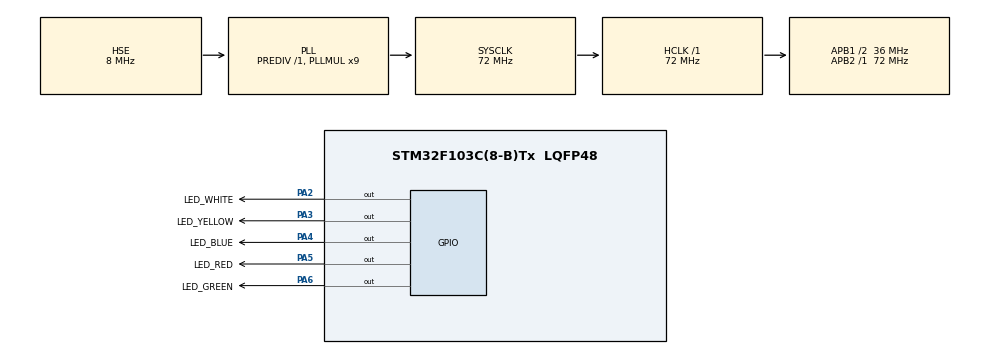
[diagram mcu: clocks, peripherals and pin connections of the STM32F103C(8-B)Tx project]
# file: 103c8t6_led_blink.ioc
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FREERTOS.Tasks01=defaultTask,24,64,StartDefaultTask,Default,NULL,Dynamic,NULL,NULL;LedBlinkWhite,24,64,vLedBlinkWhite,As external,NULL,Dynamic,NULL,NULL;LedBlinkYellow,24,64,vLedBlinkYellow,As external,NULL,Dynamic,NULL,NULL;LedBlinkBlue,24,64,vLedBlinkBlue,As external,NULL,Dynamic,NULL,NULL;LedBlinkRed,24,64,vLedBlinkRed,As external,NULL,Dynamic,NULL,NULL;LedBlinkGreen,24,64,vLedBlinkGreen,As external,NULL,Dynamic,NULL,NULL
FREERTOS.configGENERATE_RUN_TIME_STATS=1
FREERTOS.configMINIMAL_STACK_SIZE=64
FREERTOS.configRECORD_STACK_HIGH_ADDRESS=1
FREERTOS.configTOTAL_HEAP_SIZE=10240
Mcu.Family=STM32F1
Mcu.Name=STM32F103C(8-B)Tx
Mcu.Package=LQFP48
NVIC.PriorityGroup=NVIC_PRIORITYGROUP_4
NVIC.TIM1_UP_IRQn=true\:15\:0\:false\:false\:true\:false\:false\:true\:true
NVIC.TimeBase=TIM1_UP_IRQn
NVIC.TimeBaseIP=TIM1
PA13.Mode=Serial_Wire
PA13.Signal=SYS_JTMS-SWDIO
PA14.Mode=Serial_Wire
PA14.Signal=SYS_JTCK-SWCLK
PA2.GPIO_Label=LED_WHITE
PA2.GPIO_PuPd=GPIO_PULLUP
PA2.GPIO_Speed=GPIO_SPEED_FREQ_HIGH
PA2.PinState=GPIO_PIN_SET
PA2.Signal=GPIO_Output
PA3.GPIO_Label=LED_YELLOW
PA3.GPIO_PuPd=GPIO_PULLUP
PA3.GPIO_Speed=GPIO_SPEED_FREQ_HIGH
PA3.PinState=GPIO_PIN_SET
PA3.Signal=GPIO_Output
PA4.GPIO_Label=LED_BLUE
PA4.GPIO_ModeDefaultOutputPP=GPIO_MODE_OUTPUT_PP
PA4.GPIO_PuPd=GPIO_PULLUP
PA4.GPIO_Speed=GPIO_SPEED_FREQ_HIGH
PA4.PinState=GPIO_PIN_SET
PA4.Signal=GPIO_Output
PA5.GPIO_Label=LED_RED
PA5.GPIO_ModeDefaultOutputPP=GPIO_MODE_OUTPUT_PP
PA5.GPIO_PuPd=GPIO_PULLUP
PA5.GPIO_Speed=GPIO_SPEED_FREQ_HIGH
PA5.PinState=GPIO_PIN_SET
PA5.Signal=GPIO_Output
PA6.GPIO_Label=LED_GREEN
PA6.GPIO_ModeDefaultOutputPP=GPIO_MODE_OUTPUT_PP
PA6.GPIO_PuPd=GPIO_PULLUP
PA6.GPIO_Speed=GPIO_SPEED_FREQ_HIGH
PA6.PinState=GPIO_PIN_SET
PA6.Signal=GPIO_Output
PC14-OSC32_IN.Mode=LSE-External-Oscillator
PC14-OSC32_IN.Signal=RCC_OSC32_IN
PC15-OSC32_OUT.Mode=LSE-External-Oscillator
PC15-OSC32_OUT.Signal=RCC_OSC32_OUT
PD0-OSC_IN.Mode=HSE-External-Oscillator
PD0-OSC_IN.Signal=RCC_OSC_IN
PD1-OSC_OUT.Mode=HSE-External-Oscillator
PD1-OSC_OUT.Signal=RCC_OSC_OUT
ProjectManager.HeapSize=0x200
ProjectManager.StackSize=0x400
ProjectManager.TargetToolchain=CMake
RCC.AHBFreq_Value=72000000
RCC.APB1CLKDivider=RCC_HCLK_DIV2
RCC.APB1Freq_Value=36000000
RCC.APB1TimFreq_Value=72000000
RCC.APB2Freq_Value=72000000
RCC.APB2TimFreq_Value=72000000
RCC.HCLKFreq_Value=72000000
RCC.PLLMUL=RCC_PLL_MUL9
RCC.PLLSourceVirtual=RCC_PLLSOURCE_HSE
RCC.SYSCLKFreq_VALUE=72000000
RCC.SYSCLKSource=RCC_SYSCLKSOURCE_PLLCLK
RCC.USBFreq_Value=72000000
VP_FREERTOS_VS_CMSIS_V2.Mode=CMSIS_V2
VP_SYS_VS_tim1.Mode=TIM1
board=custom

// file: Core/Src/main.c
/* USER CODE BEGIN Header */
/**
  ******************************************************************************
  * @file           : main.c
  * @brief          : Main program body
  ******************************************************************************
  * @attention
  *
  * Copyright (c) 2025 STMicroelectronics.
  * All rights reserved.
  *
  * This software is licensed under terms that can be found in the LICENSE file
  * in the root directory of this software component.
  * If no LICENSE file comes with this software, it is provided AS-IS.
  *
  ******************************************************************************
  */
/* USER CODE END Header */
#include "main.h"
#include "cmsis_os.h"
#include "gpio.h"

/* USER CODE BEGIN PD */
#define FREQUENCY_TO_MS(frequency) (1000 / frequency)
/* USER CODE END PD */

void SystemClock_Config(void);
void MX_FREERTOS_Init(void);

int main(void)
{

  /* MCU Configuration--------------------------------------------------------*/

  /* Reset of all peripherals, Initializes the Flash interface and the Systick. */
  HAL_Init();

  /* Configure the system clock */
  SystemClock_Config();

  /* Initialize all configured peripherals */
  MX_GPIO_Init();

  /* Init scheduler */
  osKernelInitialize();

  /* Call init function for freertos objects (in cmsis_os2.c) */
  MX_FREERTOS_Init();

  /* Start scheduler */
  osKernelStart();

  /* We should never get here as control is now taken by the scheduler */

  /* Infinite loop */
  /* USER CODE BEGIN WHILE */
  while (1)
  {
    // HAL_GPIO_TogglePin(LED_WHITE_GPIO_Port, LED_WHITE_Pin);
    // HAL_GPIO_TogglePin(LED_YELLOW_GPIO_Port, LED_YELLOW_Pin);
    // HAL_GPIO_TogglePin(LED_BLUE_GPIO_Port, LED_BLUE_Pin);
    // HAL_GPIO_TogglePin(LED_RED_GPIO_Port, LED_RED_Pin);
    // HAL_GPIO_TogglePin(LED_GREEN_GPIO_Port, LED_GREEN_Pin);
    // HAL_Delay(500);

    /* USER CODE END WHILE */

  }
}

void SystemClock_Config(void)
{
  RCC_OscInitTypeDef RCC_OscInitStruct = {0};
  RCC_ClkInitTypeDef RCC_ClkInitStruct = {0};

  /** Initializes the RCC Oscillators according to the specified parameters
  * in the RCC_OscInitTypeDef structure.
  */
  RCC_OscInitStruct.OscillatorType = RCC_OSCILLATORTYPE_HSE;
  RCC_OscInitStruct.HSEState = RCC_HSE_ON;
  RCC_OscInitStruct.HSEPredivValue = RCC_HSE_PREDIV_DIV1;
  RCC_OscInitStruct.HSIState = RCC_HSI_ON;
  RCC_OscInitStruct.PLL.PLLState = RCC_PLL_ON;
  RCC_OscInitStruct.PLL.PLLSource = RCC_PLLSOURCE_HSE;
  RCC_OscInitStruct.PLL.PLLMUL = RCC_PLL_MUL9;
  if (HAL_RCC_OscConfig(&RCC_OscInitStruct) != HAL_OK)
  {
    Error_Handler();
  }

  /** Initializes the CPU, AHB and APB buses clocks
  */
  RCC_ClkInitStruct.ClockType = RCC_CLOCKTYPE_HCLK|RCC_CLOCKTYPE_SYSCLK
                              |RCC_CLOCKTYPE_PCLK1|RCC_CLOCKTYPE_PCLK2;
  RCC_ClkInitStruct.SYSCLKSource = RCC_SYSCLKSOURCE_PLLCLK;
  RCC_ClkInitStruct.AHBCLKDivider = RCC_SYSCLK_DIV1;
  RCC_ClkInitStruct.APB1CLKDivider = RCC_HCLK_DIV2;
  RCC_ClkInitStruct.APB2CLKDivider = RCC_HCLK_DIV1;

  if (HAL_RCC_ClockConfig(&RCC_ClkInitStruct, FLASH_LATENCY_2) != HAL_OK)
  {
    Error_Handler();
  }
}

/* USER CODE BEGIN 4 */
/**
 * @brief 以 10 Hz 的频率闪烁白色 LED
 * @param pvParameters
 */
void vLedBlinkWhite(void* pvParameters)
{
  UNUSED(pvParameters);

  TickType_t last_wake_time = xTaskGetTickCount();

  while (1)
  {
    HAL_GPIO_TogglePin(LED_WHITE_GPIO_Port, LED_WHITE_Pin);

    vTaskDelayUntil(&last_wake_time, pdMS_TO_TICKS(FREQUENCY_TO_MS(10)));
  }
}

/**
 * @brief 以 20 Hz 的频率闪烁黄色 LED
 * @param pvParameters
 */
void vLedBlinkYellow(void* pvParameters)
{
  UNUSED(pvParameters);

  TickType_t last_wake_time = xTaskGetTickCount();

  while (1)
  {
    HAL_GPIO_TogglePin(LED_YELLOW_GPIO_Port, LED_YELLOW_Pin);

    vTaskDelayUntil(&last_wake_time, pdMS_TO_TICKS(FREQUENCY_TO_MS(20)));
  }
}

/**
 * @brief 以 30 Hz 频率闪烁蓝色 LED
 * @param pvParameters
 */
void vLedBlinkBlue(void* pvParameters)
{
  UNUSED(pvParameters);

  TickType_t last_wake_time = xTaskGetTickCount();

  while (1)
  {
    HAL_GPIO_TogglePin(LED_BLUE_GPIO_Port, LED_BLUE_Pin);

    vTaskDelayUntil(&last_wake_time, pdMS_TO_TICKS(FREQUENCY_TO_MS(30)));
  }
}

/**
 * @brief 以 40 Hz 频率闪烁红色 LED
 * @param pvParameters
 */
void vLedBlinkRed(void* pvParameters)
{
  UNUSED(pvParameters);

  TickType_t last_wake_time = xTaskGetTickCount();

  while (1)
  {
    HAL_GPIO_TogglePin(LED_RED_GPIO_Port, LED_RED_Pin);

    vTaskDelayUntil(&last_wake_time, pdMS_TO_TICKS(FREQUENCY_TO_MS(40)));
  }
}

/**
 * @brief 以 50 Hz 频率闪烁绿色 LED
 * @param pvParameters
 */
void vLedBlinkGreen(void* pvParameters)
{
  UNUSED(pvParameters);

  TickType_t last_wake_time = xTaskGetTickCount();

  while (1)
  {
    HAL_GPIO_TogglePin(LED_GREEN_GPIO_Port, LED_GREEN_Pin);

    vTaskDelayUntil(&last_wake_time, pdMS_TO_TICKS(FREQUENCY_TO_MS(50)));
  }
}
/* USER CODE END 4 */

void HAL_TIM_PeriodElapsedCallback(TIM_HandleTypeDef *htim)
{
  if (htim->Instance == TIM1)
  {
    HAL_IncTick();
  }
}

void Error_Handler(void)
{
  __disable_irq();
  while (1)
  {
  }
}

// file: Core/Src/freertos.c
/* USER CODE BEGIN Header */
/**
  ******************************************************************************
  * File Name          : freertos.c
  * Description        : Code for freertos applications
  ******************************************************************************
  * @attention
  *
  * Copyright (c) 2025 STMicroelectronics.
  * All rights reserved.
  *
  * This software is licensed under terms that can be found in the LICENSE file
  * in the root directory of this software component.
  * If no LICENSE file comes with this software, it is provided AS-IS.
  *
  ******************************************************************************
  */
/* USER CODE END Header */

#include "FreeRTOS.h"
#include "task.h"
#include "main.h"
#include "cmsis_os.h"

/* Definitions for defaultTask */
osThreadId_t defaultTaskHandle;
const osThreadAttr_t defaultTask_attributes = {
  .name = "defaultTask",
  .stack_size = 64 * 4,
  .priority = (osPriority_t) osPriorityNormal,
};
/* Definitions for LedBlinkWhite */
osThreadId_t LedBlinkWhiteHandle;
const osThreadAttr_t LedBlinkWhite_attributes = {
  .name = "LedBlinkWhite",
  .stack_size = 64 * 4,
  .priority = (osPriority_t) osPriorityNormal,
};
/* Definitions for LedBlinkYellow */
osThreadId_t LedBlinkYellowHandle;
const osThreadAttr_t LedBlinkYellow_attributes = {
  .name = "LedBlinkYellow",
  .stack_size = 64 * 4,
  .priority = (osPriority_t) osPriorityNormal,
};
/* Definitions for LedBlinkBlue */
osThreadId_t LedBlinkBlueHandle;
const osThreadAttr_t LedBlinkBlue_attributes = {
  .name = "LedBlinkBlue",
  .stack_size = 64 * 4,
  .priority = (osPriority_t) osPriorityNormal,
};
/* Definitions for LedBlinkRed */
osThreadId_t LedBlinkRedHandle;
const osThreadAttr_t LedBlinkRed_attributes = {
  .name = "LedBlinkRed",
  .stack_size = 64 * 4,
  .priority = (osPriority_t) osPriorityNormal,
};
/* Definitions for LedBlinkGreen */
osThreadId_t LedBlinkGreenHandle;
const osThreadAttr_t LedBlinkGreen_attributes = {
  .name = "LedBlinkGreen",
  .stack_size = 64 * 4,
  .priority = (osPriority_t) osPriorityNormal,
};

void StartDefaultTask(void *argument);
extern void vLedBlinkWhite(void *argument);
extern void vLedBlinkYellow(void *argument);
extern void vLedBlinkBlue(void *argument);
extern void vLedBlinkRed(void *argument);
extern void vLedBlinkGreen(void *argument);

void MX_FREERTOS_Init(void); /* (MISRA C 2004 rule 8.1) */

/* Hook prototypes */
void configureTimerForRunTimeStats(void);
unsigned long getRunTimeCounterValue(void);

/* USER CODE BEGIN 1 */
/* Functions needed when configGENERATE_RUN_TIME_STATS is on */
__weak void configureTimerForRunTimeStats(void)
{

}

__weak unsigned long getRunTimeCounterValue(void)
{
return 0;
}
/* USER CODE END 1 */

void MX_FREERTOS_Init(void) {

  /* Create the thread(s) */
  /* creation of defaultTask */
  defaultTaskHandle = osThreadNew(StartDefaultTask, NULL, &defaultTask_attributes);

  /* creation of LedBlinkWhite */
  LedBlinkWhiteHandle = osThreadNew(vLedBlinkWhite, NULL, &LedBlinkWhite_attributes);

  /* creation of LedBlinkYellow */
  LedBlinkYellowHandle = osThreadNew(vLedBlinkYellow, NULL, &LedBlinkYellow_attributes);

  /* creation of LedBlinkBlue */
  LedBlinkBlueHandle = osThreadNew(vLedBlinkBlue, NULL, &LedBlinkBlue_attributes);

  /* creation of LedBlinkRed */
  LedBlinkRedHandle = osThreadNew(vLedBlinkRed, NULL, &LedBlinkRed_attributes);

  /* creation of LedBlinkGreen */
  LedBlinkGreenHandle = osThreadNew(vLedBlinkGreen, NULL, &LedBlinkGreen_attributes);

}

void StartDefaultTask(void *argument)
{
  for(;;)
  {
    osDelay(1);
  }
}
